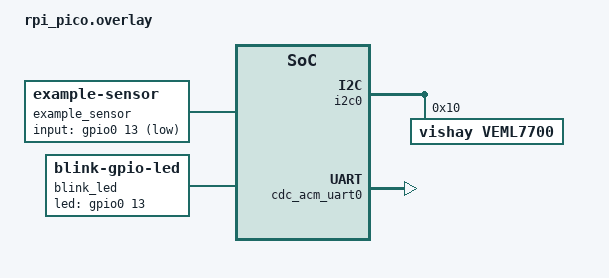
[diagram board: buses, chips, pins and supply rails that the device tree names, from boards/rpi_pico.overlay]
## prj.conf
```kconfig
# Copyright (c) 2021 Nordic Semiconductor ASA
# SPDX-License-Identifier: Apache-2.0
#
# This file contains selected Kconfig options for the application.

CONFIG_SENSOR=y
CONFIG_BLINK=y

CONFIG_USB_DEVICE_STACK=y
CONFIG_USB_DEVICE_PRODUCT="Zephyr USB console sample"
CONFIG_USB_DEVICE_PID=0x0004
CONFIG_USB_DEVICE_INITIALIZE_AT_BOOT=y

CONFIG_SERIAL=y
CONFIG_CONSOLE=y
CONFIG_UART_CONSOLE=y
CONFIG_UART_LINE_CTRL=n

CONFIG_REQUIRES_FULL_LIBC=y
CONFIG_REQUIRES_FLOAT_PRINTF=y
CONFIG_CBPRINTF_FP_SUPPORT=y

CONFIG_BOOTLOADER_MCUBOOT=y
```

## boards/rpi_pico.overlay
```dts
/ {
	example_sensor: example-sensor {
		compatible = "zephyr,example-sensor";
		input-gpios = <&gpio0 13 (GPIO_PULL_UP | GPIO_ACTIVE_LOW)>;
	};

	blink_led: blink-led {
		compatible = "blink-gpio-led";
		led-gpios = <&gpio0 13 GPIO_ACTIVE_HIGH>;
		blink-period-ms = <1000>;
	};

    chosen {
		zephyr,console = &cdc_acm_uart0;
        zephyr,shell-uart = &cdc_acm_uart0;
	};

    aliases {
        light-sensor = &veml7700;
    };

};

&i2c0 {
    status = "okay";
    veml7700:veml7700@10{
        compatible = "vishay,veml7700";
        reg = <0x10>;
    };
};

&zephyr_udc0 {
	cdc_acm_uart0: cdc_acm_uart0 {
		compatible = "zephyr,cdc-acm-uart";
	};
};
```

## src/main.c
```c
/*
 * Copyright (c) 2016 Intel Corporation
 *
 * SPDX-License-Identifier: Apache-2.0
 */

#include <zephyr/kernel.h>
#include <zephyr/init.h>
#include <stdio.h>
#include <zephyr/drivers/sensor.h>

#define SLEEP_TIME	K_MSEC(1000)

int main(void)
{
	const struct device *const dev = DEVICE_DT_GET(DT_ALIAS(light_sensor));

	if (!device_is_ready(dev)) {
		printk("sensor: device not ready.\n");
		return 0;
	}

	while (1) {
		int read;
		struct sensor_value lux;

		read = sensor_sample_fetch(dev);
		if (read) {
			printf("sample fetch error %d\n", read);
			continue;
		}

		sensor_channel_get(dev, SENSOR_CHAN_LIGHT, &lux);

		printk("lux: %f\n", sensor_value_to_double(&lux));

		k_sleep(SLEEP_TIME);
	}
	return 0;
}
```
